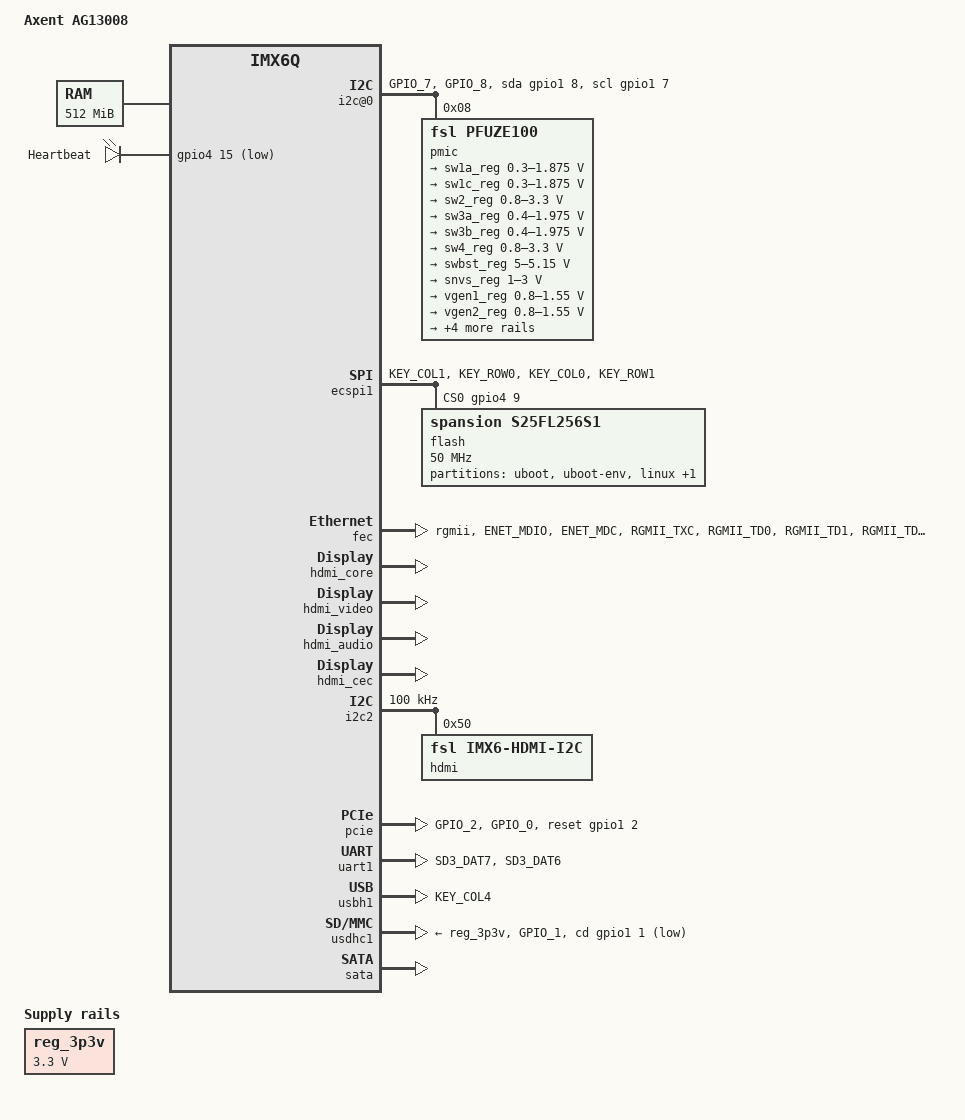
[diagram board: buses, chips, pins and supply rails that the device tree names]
/*
 * Copyright 2013 Boundary Devices, Inc.
 * Copyright 2012 Freescale Semiconductor, Inc.
 * Copyright 2011 Linaro Ltd.
 *
 * The code contained herein is licensed under the GNU General Public
 * License. You may obtain a copy of the GNU General Public License
 * Version 2 or later at the following locations:
 *
 * http://www.opensource.org/licenses/gpl-license.html
 * http://www.gnu.org/copyleft/gpl.html
 */

/dts-v1/;
#include "imx6q.dtsi"

/ {
	model = "Axent AG13008";
	compatible = "fsl,imx6q-ag13008", "fsl,imx6q";

	aliases {
		mxcfb0 = &mxcfb1;
	};
	
	cpus {
		#address-cells = <1>;
		#size-cells = <0>;

		cpu0: cpu@0 {
			compatible = "arm,cortex-a9";
			device_type = "cpu";
			reg = <0>;
			next-level-cache = <&L2>;
			operating-points = <
				/* kHz    uV */
				1200000 1275000
				996000  1250000
				852000  1250000
				792000  1175000
				396000  975000
			>;
			fsl,soc-operating-points = <
				/* ARM kHz  SOC-PU uV */
				1200000       1275000
				996000        1250000
				852000        1250000
				792000        1175000
				396000        1175000
			>;
			clock-latency = <61036>; /* two CLK32 periods */
			clocks = <&clks 104>, <&clks 6>, <&clks 16>,
				 <&clks 17>, <&clks 170>;
			clock-names = "arm", "pll2_pfd2_396m", "step",
				      "pll1_sw", "pll1_sys";
			arm-supply = <&reg_arm>;
			pu-supply = <&reg_pu>;
			soc-supply = <&reg_soc>;
		};

		cpu@1 {
			compatible = "arm,cortex-a9";
			device_type = "cpu";
			reg = <1>;
			next-level-cache = <&L2>;
		};

		cpu@2 {
			compatible = "arm,cortex-a9";
			device_type = "cpu";
			reg = <2>;
			next-level-cache = <&L2>;
		};

		cpu@3 {
			compatible = "arm,cortex-a9";
			device_type = "cpu";
			reg = <3>;
			next-level-cache = <&L2>;
		};
	};

	soc {
		busfreq { /* BUSFREQ */
			status = "disabled";
		};
	};

	memory {
		reg = <0x10000000 0x20000000>;
	};

	regulators {
		compatible = "simple-bus";
		#address-cells = <1>;
		#size-cells = <0>;

		reg_3p3v: regulator@1 {
			compatible = "regulator-fixed";
			regulator-name = "3P3V";
			regulator-min-microvolt = <3300000>;
			regulator-max-microvolt = <3300000>;
			regulator-always-on;
		};
	};
	
	leds {
		compatible = "gpio-leds";
		pinctrl-names = "default";
	    pinctrl-0 = <&pinctrl_led>;

		debug-led {
			label = "Heartbeat";
			gpios = <&gpio4 15 1>;
			linux,default-trigger = "heartbeat";
		};
	};
	
	sound-hdmi {
		compatible = "fsl,imx6q-audio-hdmi",
			     "fsl,imx-audio-hdmi";
		model = "imx-audio-hdmi";
		hdmi-controller = <&hdmi_audio>;
	};
	
	mxcfb1: fb@0 {
		compatible = "fsl,mxc_sdc_fb";
		disp_dev = "hdmi";
		interface_pix_fmt = "RGB24";
		mode_str ="1920x1080M@60";
		default_bpp = <32>;
		int_clk = <0>;
		late_init = <0>;
		status = "okay";
	};

	i2c@0 {
	compatible = "i2c-gpio";
	gpios = <&gpio1 8 0
			 &gpio1 7 0
			>;
	i2c-gpio,scl-output-only;
	i2c-gpio,delay-us = <5>;        /* ~100 kHz */
	#address-cells = <1>;
	#size-cells = <0>;
	pinctrl-names = "default";
	pinctrl-0 = <&pinctrl_softi2c>;

	pmic: pfuze100@08 {
		compatible = "fsl,pfuze100";
		reg = <0x08>;

		regulators {
			sw1a_reg: sw1ab {
				regulator-min-microvolt = <300000>;
				regulator-max-microvolt = <1875000>;
				regulator-boot-on;
				regulator-always-on;
				regulator-ramp-delay = <6250>;
			};

			sw1c_reg: sw1c {
				regulator-min-microvolt = <300000>;
				regulator-max-microvolt = <1875000>;
				regulator-boot-on;
				regulator-always-on;
				regulator-ramp-delay = <6250>;
			};

			sw2_reg: sw2 {
				regulator-min-microvolt = <800000>;
				regulator-max-microvolt = <3300000>;
				regulator-boot-on;
				regulator-always-on;
			};

			sw3a_reg: sw3a {
				regulator-min-microvolt = <400000>;
				regulator-max-microvolt = <1975000>;
				regulator-boot-on;
				regulator-always-on;
			};

			sw3b_reg: sw3b {
				regulator-min-microvolt = <400000>;
				regulator-max-microvolt = <1975000>;
				regulator-boot-on;
				regulator-always-on;
			};

			sw4_reg: sw4 {
				regulator-min-microvolt = <800000>;
				regulator-max-microvolt = <3300000>;
			};

			swbst_reg: swbst {
				regulator-min-microvolt = <5000000>;
				regulator-max-microvolt = <5150000>;
			};

			snvs_reg: vsnvs {
				regulator-min-microvolt = <1000000>;
				regulator-max-microvolt = <3000000>;
				regulator-boot-on;
				regulator-always-on;
			};

			vref_reg: vrefddr {
				regulator-boot-on;
				regulator-always-on;
			};

			vgen1_reg: vgen1 {
				regulator-min-microvolt = <800000>;
				regulator-max-microvolt = <1550000>;
			};

			vgen2_reg: vgen2 {
				regulator-min-microvolt = <800000>;
				regulator-max-microvolt = <1550000>;
			};

			vgen3_reg: vgen3 {
				regulator-min-microvolt = <1800000>;
				regulator-max-microvolt = <3300000>;
			};

			vgen4_reg: vgen4 {
				regulator-min-microvolt = <1800000>;
				regulator-max-microvolt = <3300000>;
				regulator-always-on;
			};

			vgen5_reg: vgen5 {
				regulator-min-microvolt = <1800000>;
				regulator-max-microvolt = <3300000>;
				regulator-always-on;
			};

			vgen6_reg: vgen6 {
				regulator-min-microvolt = <1800000>;
				regulator-max-microvolt = <3300000>;
				regulator-always-on;
			};
		};
	};
};
};

&ecspi1 {
	fsl,spi-num-chipselects = <1>;
	cs-gpios = <&gpio4 9 0>;
	pinctrl-names = "default";
	pinctrl-0 = <&pinctrl_ecspi1>;
	status = "okay";

	flash: m25p80@0 {
		#address-cells = <1>;
		#size-cells = <1>;
		compatible = "spansion,s25fl256s1";
		spi-max-frequency = <50000000>;
		reg = <0>;
		partition@0x00000000 {
			reg = <0x0 0x80000>;
			label = "uboot";
		};
		partition@0x00080000 {
			reg = <0x80000 0x20000>;
			label = "uboot-env";
		};
		partition@0x000a0000 {
			reg = <0xa0000 0x4e0000>;
			label = "linux";
		};
		partition@0x00580000 {
			reg = <0x580000 0x1a80000>;
			label = "rootfs";
		};
	};
};

&gpc {
	fsl,ldo-bypass = <0>; /* use ldo-bypass, u-boot will check it and configure */
	fsl,wdog-reset = <1>; /* watchdog select of reset source */
	pu-supply = <&reg_pu>; /* ldo-bypass:use pu_dummy if VDDSOC share with VDDPU */
};

&fec {
	pinctrl-names = "default";
	pinctrl-0 = <&pinctrl_enet>;
	phy-mode = "rgmii";
	txen-skew-ps = <0>;
	txc-skew-ps = <3000>;
	rxdv-skew-ps = <0>;
	rxc-skew-ps = <3000>;
	rxd0-skew-ps = <0>;
	rxd1-skew-ps = <0>;
	rxd2-skew-ps = <0>;
	rxd3-skew-ps = <0>;
	txd0-skew-ps = <0>;
	txd1-skew-ps = <0>;
	txd2-skew-ps = <0>;
	txd3-skew-ps = <0>;
	status = "okay";
};

&hdmi_core {
	ipu_id = <0>;
	disp_id = <1>;
	status = "okay";
};

&hdmi_video {
	fsl,phy_reg_vlev = <0x0294>;
	fsl,phy_reg_cksymtx = <0x800d>;
	status = "okay";
};

&hdmi_audio {
	status = "okay";
};

&hdmi_cec {
	pinctrl-names = "default";
	pinctrl-0 = <&pinctrl_hdmi_cec_1>;
	status = "okay";
};

&i2c2 {
	clock-frequency = <100000>;
	pinctrl-names = "default";
	pinctrl-0 = <&pinctrl_i2c2_1>;
	status = "okay";

	hdmi: edid@50 {
		compatible = "fsl,imx6-hdmi-i2c";
		reg = <0x50>;
	};
};

&iomuxc {
	pinctrl-names = "default";

	imx6q-ag13008 {
		pinctrl_ecspi1: ecspi1grp {
			fsl,pins = <
				MX6QDL_PAD_KEY_COL1__ECSPI1_MISO		0x100b1
				MX6QDL_PAD_KEY_ROW0__ECSPI1_MOSI		0x100b1
				MX6QDL_PAD_KEY_COL0__ECSPI1_SCLK		0x100b1
				MX6QDL_PAD_KEY_ROW1__GPIO4_IO09  		0x000b1	/* CS */
			>;
		};

		pinctrl_enet: enetgrp {
			fsl,pins = <
				MX6QDL_PAD_ENET_MDIO__ENET_MDIO       0x1b0b0
				MX6QDL_PAD_ENET_MDC__ENET_MDC         0x1b0b0
				MX6QDL_PAD_RGMII_TXC__RGMII_TXC       0x1b0b0
				MX6QDL_PAD_RGMII_TD0__RGMII_TD0       0x1b0b0
				MX6QDL_PAD_RGMII_TD1__RGMII_TD1       0x1b0b0
				MX6QDL_PAD_RGMII_TD2__RGMII_TD2       0x1b0b0
				MX6QDL_PAD_RGMII_TD3__RGMII_TD3       0x1b0b0
				MX6QDL_PAD_RGMII_TX_CTL__RGMII_TX_CTL 0x1b0b0
				MX6QDL_PAD_ENET_REF_CLK__ENET_TX_CLK  0x1b0b0
				MX6QDL_PAD_RGMII_RXC__RGMII_RXC       0x1b0b0
				MX6QDL_PAD_RGMII_RD0__RGMII_RD0       0x1b0b0
				MX6QDL_PAD_RGMII_RD1__RGMII_RD1       0x1b0b0
				MX6QDL_PAD_RGMII_RD2__RGMII_RD2       0x1b0b0
				MX6QDL_PAD_RGMII_RD3__RGMII_RD3       0x1b0b0
				MX6QDL_PAD_RGMII_RX_CTL__RGMII_RX_CTL 0x1b0b0
				/* PHY reset */
				MX6QDL_PAD_ENET_RX_ER__GPIO1_IO24	0x1b0b0
				/* PHY int */
				MX6QDL_PAD_ENET_CRS_DV__GPIO1_IO25  0x1b0b0
			>;
		};
		
		pinctrl_softi2c: softi2cgrp {
			fsl,pins = <
				MX6QDL_PAD_GPIO_7__GPIO1_IO07			0x108b1
				MX6QDL_PAD_GPIO_8__GPIO1_IO08			0x108b1
			>;
		};
		
		pinctrl_led: ledgrp {
			fsl,pins = <MX6QDL_PAD_KEY_ROW4__GPIO4_IO15   0x000b0>;
		};
		
		pinctrl_pcie: pciegrp {
			fsl,pins = <
				MX6QDL_PAD_GPIO_2__GPIO1_IO02   0x000b0
				MX6QDL_PAD_GPIO_0__GPIO1_IO00   0x1b0b0
			>;
		};
		
		pinctrl_usb: usbgrp {
			fsl,pins = <MX6QDL_PAD_KEY_COL4__GPIO4_IO14   0x1b0b0>;
		};

		pinctrl_uart1: uart1grp {
			fsl,pins = <
				MX6QDL_PAD_SD3_DAT7__UART1_TX_DATA	0x1b0b1
				MX6QDL_PAD_SD3_DAT6__UART1_RX_DATA	0x1b0b1
			>;
		};

		pinctrl_usdhc1_aux: usdhc1grp-aux {
			fsl,pins = <
				MX6QDL_PAD_GPIO_1__GPIO1_IO01	0x100b0	/* CD */
			>;
		};
	};
};

&pcie {
    pinctrl-names = "default";
	pinctrl-0 = <&pinctrl_pcie>;
    reset-gpio = <&gpio1 2 0>;
	status = "okay";
};

&uart1 {
	pinctrl-names = "default";
	pinctrl-0 = <&pinctrl_uart1>;
	status = "okay";
};

&usbh1 {
    pinctrl-names = "default";
	pinctrl-0 = <&pinctrl_usb>;
	status = "okay";
};

&usdhc1 {
	pinctrl-names = "default";
	pinctrl-0 = <
	    &pinctrl_usdhc1_1
	    &pinctrl_usdhc1_aux>;
	cd-gpios = <&gpio1 1 1>;
	fsl,wp-controller;
	vmmc-supply = <&reg_3p3v>;
	status = "okay";
};

&sata {
	status = "okay";
};

&mxcfb1 {
	status = "okay";
};
